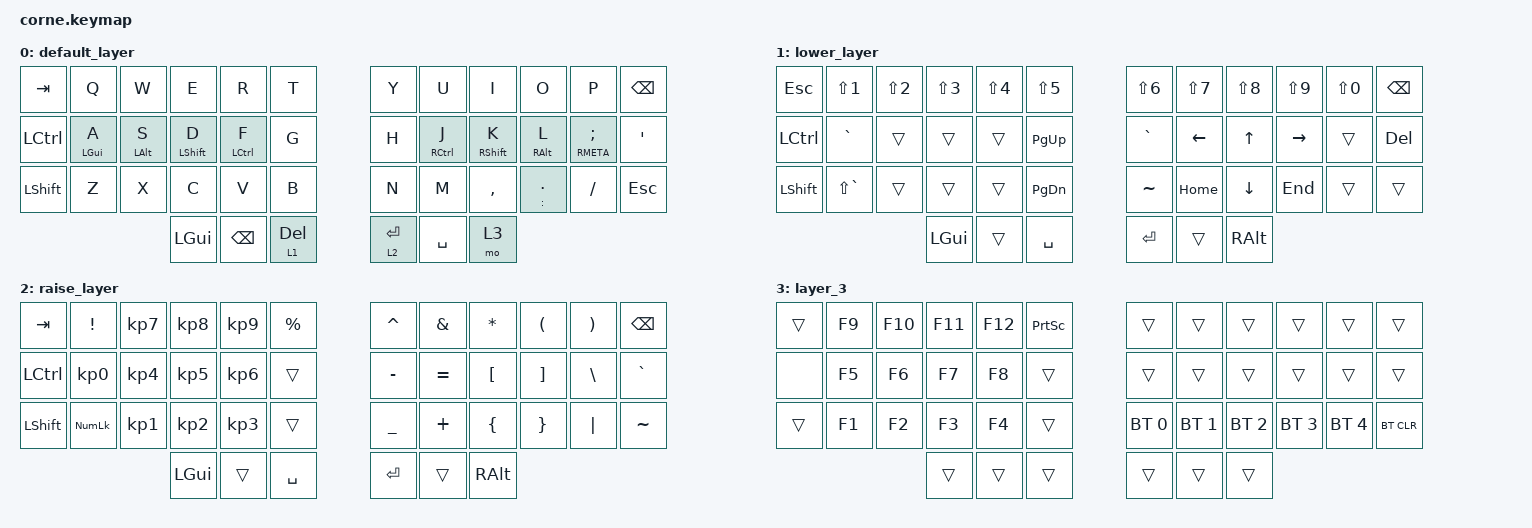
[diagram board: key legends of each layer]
/*
 * Copyright (c) 2020 The ZMK Contributors
 *
 * SPDX-License-Identifier: MIT
 */

#include <behaviors.dtsi>
#include <dt-bindings/zmk/bt.h>
#include <dt-bindings/zmk/keys.h>

/ {
    behaviors {
        hml: home_row_mod_left {
            compatible = "zmk,behavior-hold-tap";
            #binding-cells = <2>;
            flavor = "balanced";
            require-prior-idle-ms = <150>;
            tapping-term-ms = <280>;
            quick-tap-ms = <175>;
            bindings = <&kp>, <&kp>;

            hold-trigger-key-positions = <6 7 8 9 10 11 18 19 20 21 22 23 30 31 32 33 34 35 39 40 41>; // List of keys on the right side of the keyboard
            hold-trigger-on-release;
        };

        hmr: home_row_mod_right {
            compatible = "zmk,behavior-hold-tap";
            #binding-cells = <2>;
            flavor = "balanced";
            require-prior-idle-ms = <150>;
            tapping-term-ms = <280>;
            quick-tap-ms = <175>;
            bindings = <&kp>, <&kp>;

            hold-trigger-key-positions = <0 1 2 3 4 5 12 13 14 15 16 17 24 25 26 27 28 29 36 37 38>; // List of keys on the left side of the keyboard
            hold-trigger-on-release;
        };

        htap: htap {
            compatible = "zmk,behavior-hold-tap";
            label = "HTAP";
            bindings = <&kp>, <&kp>;

            #binding-cells = <2>;
            flavor = "balanced";
            tapping-term-ms = <200>;
            hold-trigger-on-release;
            hold-trigger-key-positions = <0 1 2 3 4 5 6 7 8 9 10 11 12 13 14 15 16 17 18 19 20 21 22 23 24 25 26 27 28 29 30 31 32 33 34 35 36 37 38 39 40 41>;
        };
    };

    keymap {
        compatible = "zmk,keymap";

        default_layer {
            // -----------------------------------------------------------------------------------------
            // |  TAB |  Q  |  W  |  F  |  P  |  B  |   |  J  |  L   |  U  |  Y  |  ;  | BSPC |
            // | CTRL |  A  |  R  |  S  |  T  |  G  |   |  M  |  N   |  E  |  I  |  O  |  '   |
            // | SHFT |  Z  |  X  |  C  |  D  |  V  |   |  K  |  H   |  ,  |  .  |  /  | ESC  |
            //                    | GUI | LWR | SPC |   | ENT | RSE  | ALT |

            bindings = <
&kp TAB    &kp Q        &kp W            &kp E         &kp R          &kp T           &kp Y        &kp U         &kp I         &kp O               &kp P                 &kp BSPC
&kp LCTRL  &hml LGUI A  &hml LEFT_ALT S  &hml LSHFT D  &hml LCTRL F   &kp G           &kp H        &hmr RCTRL J  &hmr RSHFT K  &hmr RIGHT_ALT L    &hmr RMETA SEMICOLON  &kp SQT
&kp LSHFT  &kp Z        &kp X            &kp C         &kp V          &kp B           &kp N        &kp M         &kp COMMA     &htap COLON PERIOD  &kp FSLH              &kp ESC
                                         &kp LGUI      &kp BACKSPACE  &lt 1 DELETE    &lt 2 ENTER  &kp SPACE     &mo 3
            >;
        };

        lower_layer {
            // -----------------------------------------------------------------------------------------
            // |  TAB |  1  |  2  |  3  |  4  |  5  |   |  6  |  7  |  8  |  9  |  0  | BSPC |
            // | BTCLR| BT1 | BT2 | BT3 | BT4 | BT5 |   | LFT | DWN |  UP | RGT |     |      |
            // | SHFT |     |     |     |     |     |   |     |     |     |     |     |      |
            //                    | GUI |     | SPC |   | ENT |     | ALT |

            bindings = <
&kp ESCAPE  &kp LS(N1)     &kp LS(N2)  &kp LS(N3)  &kp LS(N4)  &kp LS(N5)       &kp LS(N6)  &kp LS(N7)  &kp LS(N8)      &kp LS(N9)  &kp LS(N0)  &kp BSPC
&kp LCTRL   &kp GRAVE      &trans      &trans      &trans      &kp PAGE_UP      &kp GRAVE   &kp LEFT    &kp UP          &kp RIGHT   &trans      &kp DELETE
&kp LSHFT   &kp LS(GRAVE)  &trans      &trans      &trans      &kp PAGE_DOWN    &kp TILDE   &kp HOME    &kp DOWN_ARROW  &kp END     &trans      &trans
                                       &kp LGUI    &trans      &kp SPACE        &kp RET     &trans      &kp RALT
            >;
        };

        raise_layer {
            // -----------------------------------------------------------------------------------------
            // |  TAB |  !  |  @  |  #  |  $  |  %  |   |  ^  |  &  |  *  |  (  |  )  | BSPC |
            // | CTRL |     |     |     |     |     |   |  -  |  =  |  [  |  ]  |  \  |  `   |
            // | SHFT |     |     |     |     |     |   |  _  |  +  |  {  |  }  | "|" |  ~   |
            //                    | GUI |     | SPC |   | ENT |     | ALT |

            bindings = <
&kp TAB    &kp EXCL         &kp KP_NUMBER_7  &kp KP_NUMBER_8  &kp KP_NUMBER_9  &kp PRCNT    &kp CARET  &kp AMPS   &kp ASTRK  &kp LPAR  &kp RPAR  &kp BSPC
&kp LCTRL  &kp KP_NUMBER_0  &kp KP_NUMBER_4  &kp KP_NUMBER_5  &kp KP_NUMBER_6  &trans       &kp MINUS  &kp EQUAL  &kp LBKT   &kp RBKT  &kp BSLH  &kp GRAVE
&kp LSHFT  &kp KP_NUMLOCK   &kp KP_NUMBER_1  &kp KP_NUMBER_2  &kp KP_NUMBER_3  &trans       &kp UNDER  &kp PLUS   &kp LBRC   &kp RBRC  &kp PIPE  &kp TILDE
                                             &kp LGUI         &trans           &kp SPACE    &kp RET    &trans     &kp RALT
            >;
        };

        layer_3 {
            bindings = <
&trans  &kp F9  &kp F10  &kp F11  &kp F12  &kp PRINTSCREEN    &trans        &trans        &trans        &trans        &trans        &trans
&none   &kp F5  &kp F6   &kp F7   &kp F8   &trans             &trans        &trans        &trans        &trans        &trans        &trans
&trans  &kp F1  &kp F2   &kp F3   &kp F4   &trans             &bt BT_SEL 0  &bt BT_SEL 1  &bt BT_SEL 2  &bt BT_SEL 3  &bt BT_SEL 4  &bt BT_CLR
                         &trans   &trans   &trans             &trans        &trans        &trans
            >;
        };
    };
};
